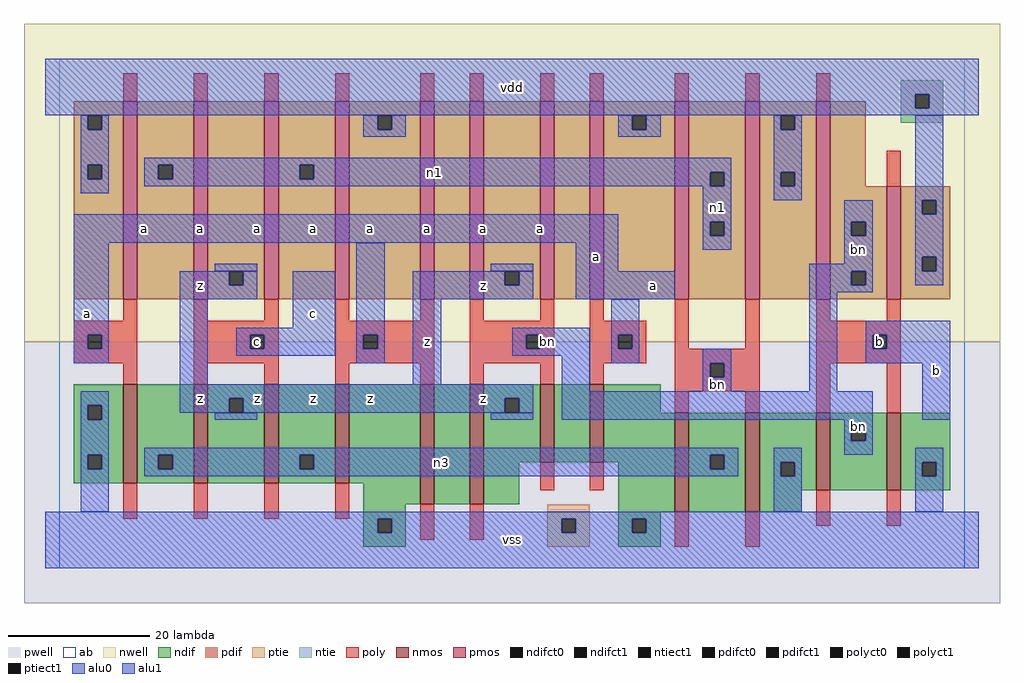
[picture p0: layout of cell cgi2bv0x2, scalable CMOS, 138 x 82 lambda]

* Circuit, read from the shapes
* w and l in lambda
.subckt cgi2bv0x2 a b bn c n1 n3 vdd vss z
M1 n3 a vss vss nfet w=14 l=2 m=2
M2 z c n3 vss nfet w=14 l=2 m=2
M3 n2 a vss vss nfet w=17 l=2
M4 z bn n2 vss nfet w=17 l=2
M5 n4 bn z vss nfet w=11 l=2
M6 vss a n4 vss nfet w=11 l=2
M7 n3 bn vss vss nfet w=14 l=2 m=2
M8 bn b vss vss nfet w=11 l=2 m=2
M9 n1 a vdd vdd pfet w=28 l=2 m=2
M10 z c n1 vdd pfet w=28 l=2 m=2
M11 n5 a vdd vdd pfet w=28 l=2
M12 z bn n5 vdd pfet w=28 l=2
M13 n6 bn z vdd pfet w=28 l=2
M14 vdd a n6 vdd pfet w=28 l=2
M15 n1 bn vdd vdd pfet w=28 l=2 m=2
M16 bn b vdd vdd pfet w=28 l=2
M17 vdd b bn vdd pfet w=16 l=2
.ends

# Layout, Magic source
magic
tech scmos
<< ab >>
rect 0 0 128 72
<< nwell >>
rect -5 32 133 77
<< pwell >>
rect -5 -5 133 32
<< poly >>
rect 9 66 11 70
rect 19 66 21 70
rect 29 66 31 70
rect 39 66 41 70
rect 51 66 53 70
rect 58 66 60 70
rect 68 66 70 70
rect 75 66 77 70
rect 87 66 89 70
rect 97 66 99 70
rect 107 66 109 70
rect 117 54 119 59
rect 9 35 11 38
rect 2 33 11 35
rect 2 31 4 33
rect 6 31 11 33
rect 2 29 11 31
rect 9 26 11 29
rect 19 35 21 38
rect 29 35 31 38
rect 19 33 31 35
rect 19 31 27 33
rect 29 31 31 33
rect 19 29 31 31
rect 19 26 21 29
rect 29 26 31 29
rect 39 35 41 38
rect 51 35 53 38
rect 39 33 53 35
rect 39 31 43 33
rect 45 31 53 33
rect 39 29 53 31
rect 39 26 41 29
rect 51 26 53 29
rect 58 35 60 38
rect 68 35 70 38
rect 58 33 70 35
rect 58 31 66 33
rect 68 31 70 33
rect 58 29 70 31
rect 58 26 60 29
rect 68 26 70 29
rect 75 35 77 38
rect 75 33 83 35
rect 75 31 79 33
rect 81 31 83 33
rect 75 29 83 31
rect 87 31 89 38
rect 97 31 99 38
rect 87 29 99 31
rect 75 26 77 29
rect 87 27 92 29
rect 94 27 99 29
rect 9 7 11 12
rect 19 7 21 12
rect 29 7 31 12
rect 39 7 41 12
rect 87 25 99 27
rect 87 22 89 25
rect 97 22 99 25
rect 107 35 109 38
rect 117 35 119 38
rect 107 33 119 35
rect 107 31 115 33
rect 117 31 119 33
rect 107 29 119 31
rect 107 22 109 29
rect 117 22 119 29
rect 68 11 70 15
rect 75 11 77 15
rect 51 4 53 9
rect 58 4 60 9
rect 87 3 89 8
rect 97 3 99 8
rect 107 6 109 11
rect 117 6 119 11
<< ndif >>
rect 2 23 9 26
rect 2 21 4 23
rect 6 21 9 23
rect 2 16 9 21
rect 2 14 4 16
rect 6 14 9 16
rect 2 12 9 14
rect 11 16 19 26
rect 11 14 14 16
rect 16 14 19 16
rect 11 12 19 14
rect 21 24 29 26
rect 21 22 24 24
rect 26 22 29 24
rect 21 12 29 22
rect 31 16 39 26
rect 31 14 34 16
rect 36 14 39 16
rect 31 12 39 14
rect 41 12 51 26
rect 43 9 51 12
rect 53 9 58 26
rect 60 24 68 26
rect 60 22 63 24
rect 65 22 68 24
rect 60 15 68 22
rect 70 15 75 26
rect 77 22 85 26
rect 77 15 87 22
rect 60 9 65 15
rect 43 7 49 9
rect 43 5 45 7
rect 47 5 49 7
rect 43 3 49 5
rect 79 8 87 15
rect 89 16 97 22
rect 89 14 92 16
rect 94 14 97 16
rect 89 8 97 14
rect 99 15 107 22
rect 99 13 102 15
rect 104 13 107 15
rect 99 11 107 13
rect 109 20 117 22
rect 109 18 112 20
rect 114 18 117 20
rect 109 11 117 18
rect 119 15 126 22
rect 119 13 122 15
rect 124 13 126 15
rect 119 11 126 13
rect 99 8 105 11
rect 79 7 85 8
rect 79 5 81 7
rect 83 5 85 7
rect 79 3 85 5
<< pdif >>
rect 2 64 9 66
rect 2 62 4 64
rect 6 62 9 64
rect 2 57 9 62
rect 2 55 4 57
rect 6 55 9 57
rect 2 38 9 55
rect 11 57 19 66
rect 11 55 14 57
rect 16 55 19 57
rect 11 38 19 55
rect 21 42 29 66
rect 21 40 24 42
rect 26 40 29 42
rect 21 38 29 40
rect 31 57 39 66
rect 31 55 34 57
rect 36 55 39 57
rect 31 38 39 55
rect 41 64 51 66
rect 41 62 45 64
rect 47 62 51 64
rect 41 38 51 62
rect 53 38 58 66
rect 60 42 68 66
rect 60 40 63 42
rect 65 40 68 42
rect 60 38 68 40
rect 70 38 75 66
rect 77 64 87 66
rect 77 62 81 64
rect 83 62 87 64
rect 77 38 87 62
rect 89 56 97 66
rect 89 54 92 56
rect 94 54 97 56
rect 89 49 97 54
rect 89 47 92 49
rect 94 47 97 49
rect 89 38 97 47
rect 99 64 107 66
rect 99 62 102 64
rect 104 62 107 64
rect 99 56 107 62
rect 99 54 102 56
rect 104 54 107 56
rect 99 38 107 54
rect 109 54 114 66
rect 109 49 117 54
rect 109 47 112 49
rect 114 47 117 49
rect 109 42 117 47
rect 109 40 112 42
rect 114 40 117 42
rect 109 38 117 40
rect 119 52 126 54
rect 119 50 122 52
rect 124 50 126 52
rect 119 44 126 50
rect 119 42 122 44
rect 124 42 126 44
rect 119 38 126 42
<< alu1 >>
rect -2 67 130 72
rect -2 65 121 67
rect 123 65 130 67
rect -2 64 130 65
rect 2 46 79 50
rect 2 33 7 46
rect 2 31 4 33
rect 6 31 7 33
rect 2 29 7 31
rect 17 40 24 42
rect 26 40 28 42
rect 17 38 28 40
rect 17 26 21 38
rect 33 34 39 42
rect 25 33 39 34
rect 25 31 27 33
rect 29 31 39 33
rect 25 30 39 31
rect 50 40 63 42
rect 65 40 67 42
rect 50 38 67 40
rect 73 42 79 46
rect 73 38 87 42
rect 50 26 54 38
rect 17 24 67 26
rect 17 22 24 24
rect 26 22 63 24
rect 65 22 67 24
rect 114 33 126 35
rect 114 31 115 33
rect 117 31 126 33
rect 114 29 126 31
rect 122 21 126 29
rect -2 7 130 8
rect -2 5 45 7
rect 47 5 71 7
rect 73 5 81 7
rect 83 5 130 7
rect -2 0 130 5
<< ptie >>
rect 69 7 75 9
rect 69 5 71 7
rect 73 5 75 7
rect 69 3 75 5
<< ntie >>
rect 119 67 125 69
rect 119 65 121 67
rect 123 65 125 67
rect 119 63 125 65
<< nmos >>
rect 9 12 11 26
rect 19 12 21 26
rect 29 12 31 26
rect 39 12 41 26
rect 51 9 53 26
rect 58 9 60 26
rect 68 15 70 26
rect 75 15 77 26
rect 87 8 89 22
rect 97 8 99 22
rect 107 11 109 22
rect 117 11 119 22
<< pmos >>
rect 9 38 11 66
rect 19 38 21 66
rect 29 38 31 66
rect 39 38 41 66
rect 51 38 53 66
rect 58 38 60 66
rect 68 38 70 66
rect 75 38 77 66
rect 87 38 89 66
rect 97 38 99 66
rect 107 38 109 66
rect 117 38 119 54
<< polyct0 >>
rect 43 31 45 33
rect 66 31 68 33
rect 79 31 81 33
rect 92 27 94 29
<< polyct1 >>
rect 4 31 6 33
rect 27 31 29 33
rect 115 31 117 33
<< ndifct0 >>
rect 4 21 6 23
rect 4 14 6 16
rect 14 14 16 16
rect 34 14 36 16
rect 92 14 94 16
rect 102 13 104 15
rect 112 18 114 20
rect 122 13 124 15
<< ndifct1 >>
rect 24 22 26 24
rect 63 22 65 24
rect 45 5 47 7
rect 81 5 83 7
<< ntiect1 >>
rect 121 65 123 67
<< ptiect1 >>
rect 71 5 73 7
<< pdifct0 >>
rect 4 62 6 64
rect 4 55 6 57
rect 14 55 16 57
rect 34 55 36 57
rect 45 62 47 64
rect 81 62 83 64
rect 92 54 94 56
rect 92 47 94 49
rect 102 62 104 64
rect 102 54 104 56
rect 112 47 114 49
rect 112 40 114 42
rect 122 50 124 52
rect 122 42 124 44
<< pdifct1 >>
rect 24 40 26 42
rect 63 40 65 42
<< alu0 >>
rect 3 62 4 64
rect 6 62 7 64
rect 3 57 7 62
rect 43 62 45 64
rect 47 62 49 64
rect 43 61 49 62
rect 79 62 81 64
rect 83 62 85 64
rect 79 61 85 62
rect 101 62 102 64
rect 104 62 105 64
rect 3 55 4 57
rect 6 55 7 57
rect 3 53 7 55
rect 12 57 95 58
rect 12 55 14 57
rect 16 55 34 57
rect 36 56 95 57
rect 36 55 92 56
rect 12 54 92 55
rect 94 54 95 56
rect 22 42 28 43
rect 42 33 46 46
rect 61 42 67 43
rect 42 31 43 33
rect 45 31 46 33
rect 42 29 46 31
rect 91 49 95 54
rect 101 56 105 62
rect 101 54 102 56
rect 104 54 105 56
rect 101 52 105 54
rect 121 52 125 64
rect 91 47 92 49
rect 94 47 95 49
rect 91 45 95 47
rect 111 49 115 52
rect 111 47 112 49
rect 114 47 115 49
rect 111 43 115 47
rect 106 42 115 43
rect 106 40 112 42
rect 114 40 115 42
rect 121 50 122 52
rect 124 50 125 52
rect 121 44 125 50
rect 121 42 122 44
rect 124 42 125 44
rect 121 40 125 42
rect 106 39 115 40
rect 64 33 75 34
rect 64 31 66 33
rect 68 31 75 33
rect 64 30 75 31
rect 3 23 7 25
rect 3 21 4 23
rect 6 21 7 23
rect 22 21 28 22
rect 61 21 67 22
rect 71 25 75 30
rect 78 33 82 38
rect 78 31 79 33
rect 81 31 82 33
rect 78 29 82 31
rect 91 29 95 31
rect 91 27 92 29
rect 94 27 95 29
rect 91 25 95 27
rect 106 25 110 39
rect 71 21 115 25
rect 3 16 7 21
rect 111 20 115 21
rect 111 18 112 20
rect 114 18 115 20
rect 3 14 4 16
rect 6 14 7 16
rect 3 8 7 14
rect 12 16 96 17
rect 12 14 14 16
rect 16 14 34 16
rect 36 14 92 16
rect 94 14 96 16
rect 12 13 96 14
rect 101 15 105 17
rect 111 16 115 18
rect 101 13 102 15
rect 104 13 105 15
rect 101 8 105 13
rect 121 15 125 17
rect 121 13 122 15
rect 124 13 125 15
rect 121 8 125 13
<< labels >>
rlabel alu0 69 32 69 32 6 bn
rlabel alu0 54 15 54 15 6 n3
rlabel alu0 113 20 113 20 6 bn
rlabel alu0 93 26 93 26 6 bn
rlabel alu0 113 45 113 45 6 bn
rlabel alu0 93 51 93 51 6 n1
rlabel alu0 53 56 53 56 6 n1
rlabel alu1 20 24 20 24 6 z
rlabel alu1 20 40 20 40 6 z
rlabel alu1 4 36 4 36 6 a
rlabel alu1 12 48 12 48 6 a
rlabel alu1 20 48 20 48 6 a
rlabel alu1 28 24 28 24 6 z
rlabel alu1 36 24 36 24 6 z
rlabel alu1 44 24 44 24 6 z
rlabel polyct1 28 32 28 32 6 c
rlabel alu1 36 36 36 36 6 c
rlabel alu1 28 48 28 48 6 a
rlabel alu1 36 48 36 48 6 a
rlabel alu1 44 48 44 48 6 a
rlabel alu1 64 4 64 4 6 vss
rlabel alu1 60 24 60 24 6 z
rlabel alu1 52 32 52 32 6 z
rlabel alu1 60 40 60 40 6 z
rlabel alu1 52 48 52 48 6 a
rlabel alu1 60 48 60 48 6 a
rlabel alu1 68 48 68 48 6 a
rlabel alu1 64 68 64 68 6 vdd
rlabel alu1 84 40 84 40 6 a
rlabel alu1 76 44 76 44 6 a
rlabel polyct1 116 32 116 32 6 b
rlabel alu1 124 28 124 28 6 b
<< end >>
